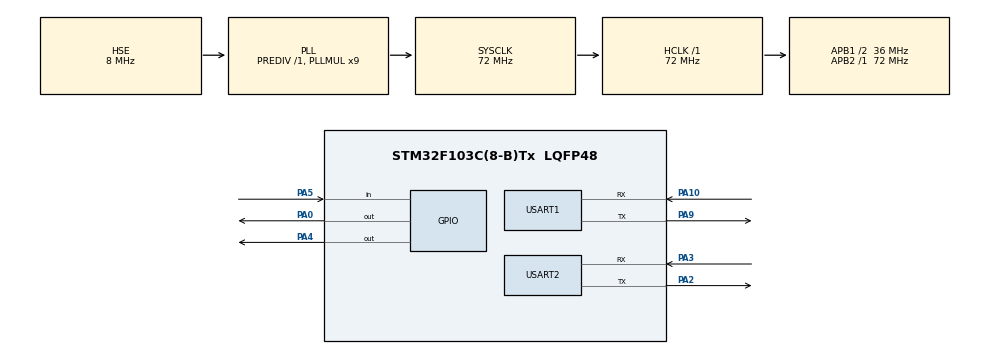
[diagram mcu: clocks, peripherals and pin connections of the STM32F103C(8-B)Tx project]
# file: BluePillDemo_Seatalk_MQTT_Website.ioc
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Dma.Request0=USART1_RX
Dma.Request1=USART1_TX
Dma.USART1_RX.0.Direction=DMA_PERIPH_TO_MEMORY
Dma.USART1_RX.0.Instance=DMA1_Channel5
Dma.USART1_RX.0.MemDataAlignment=DMA_MDATAALIGN_BYTE
Dma.USART1_RX.0.MemInc=DMA_MINC_ENABLE
Dma.USART1_RX.0.Mode=DMA_CIRCULAR
Dma.USART1_RX.0.PeriphDataAlignment=DMA_PDATAALIGN_BYTE
Dma.USART1_RX.0.PeriphInc=DMA_PINC_DISABLE
Dma.USART1_RX.0.Priority=DMA_PRIORITY_VERY_HIGH
Dma.USART1_TX.1.Direction=DMA_MEMORY_TO_PERIPH
Dma.USART1_TX.1.Instance=DMA1_Channel4
Dma.USART1_TX.1.MemDataAlignment=DMA_MDATAALIGN_BYTE
Dma.USART1_TX.1.MemInc=DMA_MINC_ENABLE
Dma.USART1_TX.1.Mode=DMA_NORMAL
Dma.USART1_TX.1.PeriphDataAlignment=DMA_PDATAALIGN_BYTE
Dma.USART1_TX.1.PeriphInc=DMA_PINC_DISABLE
Dma.USART1_TX.1.Priority=DMA_PRIORITY_VERY_HIGH
FREERTOS.Queues01=commandQueue,1,AtCommandPacket_t,0,Static,commandQueueBuffer,commandQueueControlBlock;responseQueue,1,AtResponsePacket_t,0,Static,responseQueueBuffer,responseQueueControlBlock
FREERTOS.RecursiveMutexes01=modemMutex,Static,modemMutexControlBlock
FREERTOS.Tasks01=main,24,250,mainTask,Default,NULL,Static,mainBuffer,mainControlBlock;modem,8,350,modemTask,Default,NULL,Static,modemBuffer,modemControlBlock
FREERTOS.configCHECK_FOR_STACK_OVERFLOW=2
IWDG.Prescaler=IWDG_PRESCALER_256
Mcu.Family=STM32F1
Mcu.Name=STM32F103C(8-B)Tx
Mcu.Package=LQFP48
NVIC.DMA1_Channel4_IRQn=true\:5\:0\:false\:false\:true\:true\:false\:true
NVIC.DMA1_Channel5_IRQn=true\:5\:0\:false\:false\:true\:true\:false\:true
NVIC.PriorityGroup=NVIC_PRIORITYGROUP_4
NVIC.TIM1_UP_IRQn=true\:0\:0\:false\:false\:true\:false\:false\:true
NVIC.TIM2_IRQn=true\:5\:0\:false\:false\:true\:true\:true\:true
NVIC.TimeBase=TIM1_UP_IRQn
NVIC.TimeBaseIP=TIM1
NVIC.USART1_IRQn=true\:5\:0\:false\:false\:true\:true\:true\:true
PA0-WKUP.Signal=GPIO_Output
PA10.Mode=Asynchronous
PA10.Signal=USART1_RX
PA13.Mode=Serial_Wire
PA13.Signal=SYS_JTMS-SWDIO
PA14.Mode=Serial_Wire
PA14.Signal=SYS_JTCK-SWCLK
PA2.Mode=Asynchronous
PA2.Signal=USART2_TX
PA3.Mode=Asynchronous
PA3.Signal=USART2_RX
PA4.Signal=GPIO_Output
PA5.Signal=GPIO_Input
PA9.Mode=Asynchronous
PA9.Signal=USART1_TX
PC14-OSC32_IN.Mode=LSE-External-Oscillator
PC14-OSC32_IN.Signal=RCC_OSC32_IN
PC15-OSC32_OUT.Mode=LSE-External-Oscillator
PC15-OSC32_OUT.Signal=RCC_OSC32_OUT
PD0-OSC_IN.Mode=HSE-External-Oscillator
PD0-OSC_IN.Signal=RCC_OSC_IN
PD1-OSC_OUT.Mode=HSE-External-Oscillator
PD1-OSC_OUT.Signal=RCC_OSC_OUT
ProjectManager.HeapSize=0x200
ProjectManager.StackSize=0x400
ProjectManager.TargetToolchain=STM32CubeIDE
RCC.ADCPresc=RCC_ADCPCLK2_DIV6
RCC.AHBFreq_Value=72000000
RCC.APB1CLKDivider=RCC_HCLK_DIV2
RCC.APB1Freq_Value=36000000
RCC.APB1TimFreq_Value=72000000
RCC.APB2Freq_Value=72000000
RCC.APB2TimFreq_Value=72000000
RCC.HCLKFreq_Value=72000000
RCC.PLLMUL=RCC_PLL_MUL9
RCC.PLLSourceVirtual=RCC_PLLSOURCE_HSE
RCC.SYSCLKFreq_VALUE=72000000
RCC.SYSCLKSource=RCC_SYSCLKSOURCE_PLLCLK
RCC.USBFreq_Value=72000000
TIM2.Period=936
TIM2.Prescaler=1
USART1.VirtualMode=VM_ASYNC
USART2.VirtualMode=VM_ASYNC
VP_FREERTOS_VS_CMSIS_V2.Mode=CMSIS_V2
VP_IWDG_VS_IWDG.Mode=IWDG_Activate
VP_SYS_VS_tim1.Mode=TIM1
VP_TIM2_VS_ClockSourceINT.Mode=Internal
board=custom

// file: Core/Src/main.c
/* USER CODE BEGIN Header */
/**
  ******************************************************************************
  * @file           : main.c
  * @brief          : Main program body
  ******************************************************************************
  * @attention
  *
  * <h2><center>&copy; Copyright (c) 2020 STMicroelectronics.
  * All rights reserved.</center></h2>
  *
  * This software component is licensed by ST under BSD 3-Clause license,
  * the "License"; You may not use this file except in compliance with the
  * License. You may obtain a copy of the License at:
  *                        opensource.org/licenses/BSD-3-Clause
  *
  ******************************************************************************
  */
/* USER CODE END Header */

#include "main.h"
#include "cmsis_os.h"

/* USER CODE BEGIN Includes */
#include <stdlib.h>
#include <stdint.h>
#include <stdbool.h>
#include <string.h>
#include "task.h"
#include "modem.h"
#include "buffered_serial.h"
#include "mqtt.h"
#include "seatalk.h"
#include "printf.h"

/* USER CODE END Includes */

/* USER CODE BEGIN PD */

/**** SET YOUR OWN VALUES HERE ****/
#define ACCESS_POINT_NAME					"everywhere"			// SET YOUR OWN VALUE network settings
#define USER_NAME							"eesecure"				// SET YOUR OWN VALUE may be blank for some networks in which case change to NULL (not "NULL")
#define PASSWORD							"secure"				// SET YOUR OWN VALUE may be blank for some networks in which case change to NULL (not "NULL")
#define MQTT_PUBLISH_TOPIC_ROOT				"BluePillDemo"			// SET YOUR OWN VALUE topic root for all published values
//#error "Remove this line when you have set your own values above"

#define PUBLISH_PERIOD_MS					5000UL					// time in ms that changed values are published
#define MINIMUM_REPUBLISH_TIME_MS			30000UL					// time in ms that values are republished even if unchanged
#define NETWORK_REGISTRATION_WAIT_TIME_MS	30000UL					// time to wait for network registration before giving up

/* USER CODE END PD */

/* USER CODE BEGIN PM */
#define MY_SNPRINTF snprintf	// newlib snprintf with float support is too heavy and not threadsafe so using local snprintf from printf.c
								// but this causes a compile warning that float support is off so use this macro to prevent it

/* USER CODE END PM */

IWDG_HandleTypeDef hiwdg;

TIM_HandleTypeDef htim2;

UART_HandleTypeDef huart1;
UART_HandleTypeDef huart2;
DMA_HandleTypeDef hdma_usart1_rx;
DMA_HandleTypeDef hdma_usart1_tx;

typedef StaticTask_t osStaticThreadDef_t;
typedef StaticQueue_t osStaticMessageQDef_t;
typedef StaticSemaphore_t osStaticMutexDef_t;
osThreadId_t mainHandle;
uint32_t mainBuffer[ 250 ];
osStaticThreadDef_t mainControlBlock;
osThreadId_t modemHandle;
uint32_t modemBuffer[ 350 ];
osStaticThreadDef_t modemControlBlock;
osMessageQueueId_t commandQueueHandle;
uint8_t commandQueueBuffer[ 1 * sizeof( AtCommandPacket_t ) ];
osStaticMessageQDef_t commandQueueControlBlock;
osMessageQueueId_t responseQueueHandle;
uint8_t responseQueueBuffer[ 1 * sizeof( AtResponsePacket_t ) ];
osStaticMessageQDef_t responseQueueControlBlock;
osMutexId_t modemMutexHandle;
osStaticMutexDef_t modemMutexControlBlock;
/* USER CODE BEGIN PV */
osEventFlagsId_t modemTaskStartedEventHandle;
static bool subscribeResponseReceived;
static uint16_t subscribeResponsePacketIdentifier;
static bool sogReceived;
static bool depthReceived;
static bool boatspeedReceived;
static bool awaReceived;
static bool awsReceived;
static bool sogReceived;
static bool cogReceived;
static bool heading1Received;
static bool heading2Received;
static bool tripReceived;
static bool logReceived;
static bool twasReceived;
static bool latReceived;
static bool longReceived;
static bool tempReceived;
static float newSog;
static float oldSog;
static uint32_t sogLastPubTime = UINT32_MAX / 2;
static float newDepth;
static float oldDepth;
static uint32_t depthLastPubTime = UINT32_MAX / 2;
static float newBoatspeed;
static float oldBoatspeed;
static uint32_t boatspeedLastPubTime = UINT32_MAX / 2;
static float newAwa;
static float oldAwa;
static uint32_t awaLastPubTime = UINT32_MAX / 2;
static float newAws;
static float oldAws;
static uint32_t awsLastPubTime = UINT32_MAX / 2;
static int16_t newCog;
static int16_t oldCog;
static uint32_t cogLastPubTime = UINT32_MAX / 2;
static float oldTrip;
static float newTrip;
static uint32_t tripLastPubTime = UINT32_MAX / 2;
static float newLog;
static float oldLog;
static uint32_t logLastPubTime = UINT32_MAX / 2;
static float newTemp;
static float oldTemp;
static uint32_t tempLastPubTime = UINT32_MAX / 2;
static float newTws;
static float oldTws;
static uint32_t twsLastPubTime = UINT32_MAX / 2;
static float newTwa;
static float oldTwa;
static uint32_t twaLastPubTime = UINT32_MAX / 2;
static float newLatitude;
static float oldLatitude;
static uint32_t latitudeLastPubTime = UINT32_MAX / 2;
static float newLongitude;
static float oldLongitude;
static uint32_t longitudeLastPubTime = UINT32_MAX / 2;
static float newHeading;
static float oldHeading;
static uint32_t headingLastPubTime = UINT32_MAX / 2;

/* USER CODE END PV */

void SystemClock_Config(void);
static void MX_GPIO_Init(void);
static void MX_DMA_Init(void);
static void MX_TIM2_Init(void);
static void MX_USART1_UART_Init(void);
static void MX_USART2_UART_Init(void);
static void MX_IWDG_Init(void);
void mainTask(void *argument);
void modemTask(void *argument);

/* USER CODE BEGIN PFP */
void ModemDebugPrintStatus(const char *text, ModemStatus_t modemStatus);
void MqttDebugPrintStatus(const char *text, MqttStatus_t mqttStatus);
void PublishCallback(const char *topic, uint8_t topicLength, const uint8_t *payload, uint32_t payloadLength);
void PingResponseCallback(void);
void SubscribeResponseCallback(uint16_t packetIdentifier, bool success);
void UnsubscribeResponseCallback(uint16_t packetIdentifier);
void SeatalkMessageHandler(uint8_t messageType);
static void DebugPrint(const char *text);

/* USER CODE END PFP */

/* USER CODE BEGIN 0 */

void SeatalkMessageHandler(uint8_t messageType)
{
	switch(messageType)
	{
	case SEATALK_DEPTH:
		depthReceived = true;
		break;

	case SEATALK_BOATSPEED:
		boatspeedReceived = true;
		break;

	case SEATALK_APPARENT_WIND_ANGLE:
		awaReceived = true;
		break;

	case SEATALK_APPARENT_WIND_SPEED:
		awsReceived = true;
		break;

	case SEATALK_SOG:
		sogReceived = true;
		break;

	case SEATALK_COG:
		cogReceived = true;
		break;

	case SEATALK_HEADING_MAGNETIC_1:
		heading1Received = true;
		break;

	case SEATALK_HEADING_MAGNETIC_2:
		heading2Received = true;
		break;

	case SEATALK_TRIPLOG:
		tripReceived = true;
		logReceived = true;
		break;

	case SEATALK_TRUE_WIND_ANGLE_SPEED:
		twasReceived = true;
		break;

	case SEATALK_LATITUDE:
		latReceived = true;
		break;

	case SEATALK_LONGITUDE:
		longReceived = true;
		break;

	case SEATALK_TEMPERATURE:
		tempReceived = true;
		break;

	default:
		break;
	}
}

void SubscribeResponseCallback(uint16_t packetIdentifier, bool success)
{
  subscribeResponseReceived = success;
  subscribeResponsePacketIdentifier = packetIdentifier;
}

void MqttDebugPrintStatus(const char *text, MqttStatus_t mqttStatus)
{
  DebugPrint(text);
  DebugPrint(": ");
  DebugPrint(MqttStatusToText(mqttStatus));
  DebugPrint("\r\n");
}

static void DebugPrint(const char *text)
{
  HAL_UART_Transmit(&huart2, (uint8_t *)text, strlen(text), 100U);
}

void ModemDebugPrintStatus(const char *text, ModemStatus_t modemStatus)
{
  DebugPrint(text);
  DebugPrint(": ");
  DebugPrint(ModemStatusToText(modemStatus));
  DebugPrint("\r\n");
}

/* USER CODE END 0 */

int main(void)
{

  /* MCU Configuration--------------------------------------------------------*/

  /* Reset of all peripherals, Initializes the Flash interface and the Systick. */
  HAL_Init();

  /* Configure the system clock */
  SystemClock_Config();

  /* Initialize all configured peripherals */
  MX_GPIO_Init();
  MX_DMA_Init();
  MX_TIM2_Init();
  MX_USART1_UART_Init();
  MX_USART2_UART_Init();
  MX_IWDG_Init();
  /* USER CODE BEGIN 2 */
  seatalk_init(SeatalkMessageHandler);

  /* USER CODE END 2 */

  osKernelInitialize();

  /* Create the recursive mutex(es) */
  /* definition and creation of modemMutex */
  const osMutexAttr_t modemMutex_attributes = {
    .name = "modemMutex",
    .attr_bits = osMutexRecursive,
    .cb_mem = &modemMutexControlBlock,
    .cb_size = sizeof(modemMutexControlBlock),
  };
  modemMutexHandle = osMutexNew(&modemMutex_attributes);

  /* USER CODE BEGIN RTOS_SEMAPHORES */
  /* add semaphores, ... */
  modemTaskStartedEventHandle = osEventFlagsNew(NULL);

  /* USER CODE END RTOS_SEMAPHORES */

  /* Create the queue(s) */
  /* definition and creation of commandQueue */
  const osMessageQueueAttr_t commandQueue_attributes = {
    .name = "commandQueue",
    .cb_mem = &commandQueueControlBlock,
    .cb_size = sizeof(commandQueueControlBlock),
    .mq_mem = &commandQueueBuffer,
    .mq_size = sizeof(commandQueueBuffer)
  };
  commandQueueHandle = osMessageQueueNew (1, sizeof(AtCommandPacket_t), &commandQueue_attributes);

  /* definition and creation of responseQueue */
  const osMessageQueueAttr_t responseQueue_attributes = {
    .name = "responseQueue",
    .cb_mem = &responseQueueControlBlock,
    .cb_size = sizeof(responseQueueControlBlock),
    .mq_mem = &responseQueueBuffer,
    .mq_size = sizeof(responseQueueBuffer)
  };
  responseQueueHandle = osMessageQueueNew (1, sizeof(AtResponsePacket_t), &responseQueue_attributes);

  /* Create the thread(s) */
  /* definition and creation of main */
  const osThreadAttr_t main_attributes = {
    .name = "main",
    .stack_mem = &mainBuffer[0],
    .stack_size = sizeof(mainBuffer),
    .cb_mem = &mainControlBlock,
    .cb_size = sizeof(mainControlBlock),
    .priority = (osPriority_t) osPriorityNormal,
  };
  mainHandle = osThreadNew(mainTask, NULL, &main_attributes);

  /* definition and creation of modem */
  const osThreadAttr_t modem_attributes = {
    .name = "modem",
    .stack_mem = &modemBuffer[0],
    .stack_size = sizeof(modemBuffer),
    .cb_mem = &modemControlBlock,
    .cb_size = sizeof(modemControlBlock),
    .priority = (osPriority_t) osPriorityLow,
  };
  modemHandle = osThreadNew(modemTask, NULL, &modem_attributes);

  /* Start scheduler */
  osKernelStart();

  /* We should never get here as control is now taken by the scheduler */

  /* Infinite loop */
  while (1)
  {

  }
}

void SystemClock_Config(void)
{
  RCC_OscInitTypeDef RCC_OscInitStruct = {0};
  RCC_ClkInitTypeDef RCC_ClkInitStruct = {0};

  /** Initializes the CPU, AHB and APB busses clocks
  */
  RCC_OscInitStruct.OscillatorType = RCC_OSCILLATORTYPE_LSI|RCC_OSCILLATORTYPE_HSE;
  RCC_OscInitStruct.HSEState = RCC_HSE_ON;
  RCC_OscInitStruct.HSEPredivValue = RCC_HSE_PREDIV_DIV1;
  RCC_OscInitStruct.HSIState = RCC_HSI_ON;
  RCC_OscInitStruct.LSIState = RCC_LSI_ON;
  RCC_OscInitStruct.PLL.PLLState = RCC_PLL_ON;
  RCC_OscInitStruct.PLL.PLLSource = RCC_PLLSOURCE_HSE;
  RCC_OscInitStruct.PLL.PLLMUL = RCC_PLL_MUL9;
  if (HAL_RCC_OscConfig(&RCC_OscInitStruct) != HAL_OK)
  {
    Error_Handler();
  }
  /** Initializes the CPU, AHB and APB busses clocks
  */
  RCC_ClkInitStruct.ClockType = RCC_CLOCKTYPE_HCLK|RCC_CLOCKTYPE_SYSCLK
                              |RCC_CLOCKTYPE_PCLK1|RCC_CLOCKTYPE_PCLK2;
  RCC_ClkInitStruct.SYSCLKSource = RCC_SYSCLKSOURCE_PLLCLK;
  RCC_ClkInitStruct.AHBCLKDivider = RCC_SYSCLK_DIV1;
  RCC_ClkInitStruct.APB1CLKDivider = RCC_HCLK_DIV2;
  RCC_ClkInitStruct.APB2CLKDivider = RCC_HCLK_DIV1;

  if (HAL_RCC_ClockConfig(&RCC_ClkInitStruct, FLASH_LATENCY_2) != HAL_OK)
  {
    Error_Handler();
  }
}

static void MX_IWDG_Init(void)
{

  hiwdg.Instance = IWDG;
  hiwdg.Init.Prescaler = IWDG_PRESCALER_256;
  hiwdg.Init.Reload = 4095;
  if (HAL_IWDG_Init(&hiwdg) != HAL_OK)
  {
    Error_Handler();
  }

}

static void MX_TIM2_Init(void)
{

  TIM_ClockConfigTypeDef sClockSourceConfig = {0};
  TIM_MasterConfigTypeDef sMasterConfig = {0};

  htim2.Instance = TIM2;
  htim2.Init.Prescaler = 1;
  htim2.Init.CounterMode = TIM_COUNTERMODE_UP;
  htim2.Init.Period = 936;
  htim2.Init.ClockDivision = TIM_CLOCKDIVISION_DIV1;
  htim2.Init.AutoReloadPreload = TIM_AUTORELOAD_PRELOAD_DISABLE;
  if (HAL_TIM_Base_Init(&htim2) != HAL_OK)
  {
    Error_Handler();
  }
  sClockSourceConfig.ClockSource = TIM_CLOCKSOURCE_INTERNAL;
  if (HAL_TIM_ConfigClockSource(&htim2, &sClockSourceConfig) != HAL_OK)
  {
    Error_Handler();
  }
  sMasterConfig.MasterOutputTrigger = TIM_TRGO_RESET;
  sMasterConfig.MasterSlaveMode = TIM_MASTERSLAVEMODE_DISABLE;
  if (HAL_TIMEx_MasterConfigSynchronization(&htim2, &sMasterConfig) != HAL_OK)
  {
    Error_Handler();
  }

}

static void MX_USART1_UART_Init(void)
{

  huart1.Instance = USART1;
  huart1.Init.BaudRate = 115200;
  huart1.Init.WordLength = UART_WORDLENGTH_8B;
  huart1.Init.StopBits = UART_STOPBITS_1;
  huart1.Init.Parity = UART_PARITY_NONE;
  huart1.Init.Mode = UART_MODE_TX_RX;
  huart1.Init.HwFlowCtl = UART_HWCONTROL_NONE;
  huart1.Init.OverSampling = UART_OVERSAMPLING_16;
  if (HAL_UART_Init(&huart1) != HAL_OK)
  {
    Error_Handler();
  }

}

static void MX_USART2_UART_Init(void)
{

  huart2.Instance = USART2;
  huart2.Init.BaudRate = 115200;
  huart2.Init.WordLength = UART_WORDLENGTH_8B;
  huart2.Init.StopBits = UART_STOPBITS_1;
  huart2.Init.Parity = UART_PARITY_NONE;
  huart2.Init.Mode = UART_MODE_TX_RX;
  huart2.Init.HwFlowCtl = UART_HWCONTROL_NONE;
  huart2.Init.OverSampling = UART_OVERSAMPLING_16;
  if (HAL_UART_Init(&huart2) != HAL_OK)
  {
    Error_Handler();
  }

}

static void MX_DMA_Init(void)
{

  /* DMA controller clock enable */
  __HAL_RCC_DMA1_CLK_ENABLE();

  /* DMA interrupt init */
  /* DMA1_Channel4_IRQn interrupt configuration */
  HAL_NVIC_SetPriority(DMA1_Channel4_IRQn, 5, 0);
  HAL_NVIC_EnableIRQ(DMA1_Channel4_IRQn);
  /* DMA1_Channel5_IRQn interrupt configuration */
  HAL_NVIC_SetPriority(DMA1_Channel5_IRQn, 5, 0);
  HAL_NVIC_EnableIRQ(DMA1_Channel5_IRQn);

}

static void MX_GPIO_Init(void)
{
  GPIO_InitTypeDef GPIO_InitStruct = {0};

  /* GPIO Ports Clock Enable */
  __HAL_RCC_GPIOC_CLK_ENABLE();
  __HAL_RCC_GPIOD_CLK_ENABLE();
  __HAL_RCC_GPIOA_CLK_ENABLE();

  /*Configure GPIO pin Output Level */
  HAL_GPIO_WritePin(GPIOA, GPIO_PIN_0|GPIO_PIN_4, GPIO_PIN_RESET);

  /*Configure GPIO pins : PA0 PA4 */
  GPIO_InitStruct.Pin = GPIO_PIN_0|GPIO_PIN_4;
  GPIO_InitStruct.Mode = GPIO_MODE_OUTPUT_PP;
  GPIO_InitStruct.Pull = GPIO_NOPULL;
  GPIO_InitStruct.Speed = GPIO_SPEED_FREQ_LOW;
  HAL_GPIO_Init(GPIOA, &GPIO_InitStruct);

  /*Configure GPIO pin : PA5 */
  GPIO_InitStruct.Pin = GPIO_PIN_5;
  GPIO_InitStruct.Mode = GPIO_MODE_INPUT;
  GPIO_InitStruct.Pull = GPIO_NOPULL;
  HAL_GPIO_Init(GPIOA, &GPIO_InitStruct);

}

void mainTask(void *argument)
{
  /* USER CODE BEGIN 5 */
  ModemStatus_t modemStatus;
  MqttStatus_t mqttStatus;
  bool registrationStatus;
  char ipAddress[MODEM_MAX_IP_ADDRESS_LENGTH];
  uint32_t startTime;

  // kick watchdog
  HAL_IWDG_Refresh(&hiwdg);

  // wait for modem task to start
  osEventFlagsWait(modemTaskStartedEventHandle, 0x00000001UL, osFlagsWaitAny, osWaitForever);

  serial_init();

  // kick watchdog
  HAL_IWDG_Refresh(&hiwdg);

  modemStatus = ModemHello(250UL);
  ModemDebugPrintStatus("Hello", modemStatus);

  DebugPrint("Attempting to register on network\r\n");
  startTime = osKernelGetTickCount();
  do
  {
    // kick watchdog
    HAL_IWDG_Refresh(&hiwdg);

	ModemGetNetworkRegistrationStatus(&registrationStatus, 250UL);
	osDelay(1000UL);

	if (osKernelGetTickCount() > startTime + NETWORK_REGISTRATION_WAIT_TIME_MS)
	{
		DebugPrint("Could not register on network, rebooting\r\n");
		while (true)
		{
		  osDelay(1000UL);
		}
	}
  } while (!registrationStatus);
  ModemDebugPrintStatus("Register on network", modemStatus);

  modemStatus = ModemSetManualDataRead(250UL);
  ModemDebugPrintStatus("Set manual read", modemStatus);

  if (modemStatus >= MODEM_OK)
  {
    modemStatus = ModemConfigureDataConnection(ACCESS_POINT_NAME, USER_NAME, PASSWORD, 250UL);
    ModemDebugPrintStatus("Configure data connection", modemStatus);
  }

  if (modemStatus >= MODEM_OK)
  {
	modemStatus = ModemActivateDataConnection(10000UL);
    ModemDebugPrintStatus("Activate data connection", modemStatus);
  }

  if (modemStatus >= MODEM_OK)
  {
    modemStatus = ModemGetOwnIpAddress(ipAddress, MODEM_MAX_IP_ADDRESS_LENGTH, 250UL);
    ModemDebugPrintStatus("Get own IP address", modemStatus);
  }

  if (modemStatus < MODEM_OK)
  {
	  DebugPrint("Modem error in modem configuration, rebooting\r\n");
	  while (true)
	  {
	    osDelay(1000UL);
	  }
  }

  MqttSetSubscribeResponseCallback(SubscribeResponseCallback);

  // kick watchdog
  HAL_IWDG_Refresh(&hiwdg);

  // open TCP connection to broker
  modemStatus = ModemOpenTcpConnection("broker.hivemq.com", 1883U, 8000UL);
  ModemDebugPrintStatus("Open TCP connection", modemStatus);

  // kick watchdog
  HAL_IWDG_Refresh(&hiwdg);

  if (modemStatus < MODEM_OK)
  {
	  DebugPrint("Coule no open connection to broker, rebooting\r\n");
	  while (true)
	  {
	    osDelay(1000UL);
	  }
  }

  // connect to broker
  mqttStatus = MqttConnect("1234", NULL, NULL, 600U, 20000UL);
  MqttDebugPrintStatus("MQTT connect", mqttStatus);
  if (mqttStatus != MQTT_OK)
  {
	DebugPrint("Could not connect to broker, rebooting\r\n");
	while (true)
	{
	  osDelay(1000UL);
	}
  }

  // go into main loop
  while (true)
  {
	// kick watchdog
	HAL_IWDG_Refresh(&hiwdg);

	// go into wait loop checking for incoming seatalk messages and incoming MQTT responses
	startTime = osKernelGetTickCount();
	uint8_t i = 0U;
	while (true)
	{
	  	seatalk_parse_next_message();
	  	seatalk_send_next_message();
	    osDelay(10UL);

	    i++;
	    if (i == 25U)
	    {
	    	i = 0U;
	    	mqttStatus = MqttHandleResponse(5000UL);
	    }

		if (osKernelGetTickCount() > startTime + PUBLISH_PERIOD_MS)
		{
			break;
		}
	}

    char buf[20];

    if (sogReceived && mqttStatus >= MQTT_OK)
    {
      sogReceived = false;
      newSog = seatalk_speed_over_ground_data_retrieve();
      if (oldSog != newSog || (osKernelGetTickCount() - sogLastPubTime > MINIMUM_REPUBLISH_TIME_MS))
      {
		  MY_SNPRINTF(buf, sizeof(buf), "%.1f", newSog);
		  mqttStatus = MqttPublish(MQTT_PUBLISH_TOPIC_ROOT "/sog", (uint8_t *)buf, strlen(buf), false, 5000UL);
		  oldSog = newSog;
		  sogLastPubTime = osKernelGetTickCount();
      }
    }

    if (depthReceived && mqttStatus >= MQTT_OK)
    {
	  depthReceived = false;
	  newDepth = seatalk_depth_data_retrieve();
	  if (oldDepth != newDepth || (osKernelGetTickCount() - depthLastPubTime > MINIMUM_REPUBLISH_TIME_MS))
	  {
		  MY_SNPRINTF(buf, sizeof(buf), "%.1f", newDepth);
		  mqttStatus = MqttPublish(MQTT_PUBLISH_TOPIC_ROOT "/depth", (uint8_t *)buf, strlen(buf), false, 5000UL);
		  oldDepth = newDepth;
		  depthLastPubTime = osKernelGetTickCount();
	  }
    }

    if (boatspeedReceived && mqttStatus >= MQTT_OK)
    {
	  boatspeedReceived = false;
	  newBoatspeed = seatalk_boat_speed_data_retrieve();
	  if (newBoatspeed != oldBoatspeed || (osKernelGetTickCount() - boatspeedLastPubTime > MINIMUM_REPUBLISH_TIME_MS))
	  {
		  MY_SNPRINTF(buf, sizeof(buf), "%.1f", newBoatspeed);
		  mqttStatus = MqttPublish(MQTT_PUBLISH_TOPIC_ROOT "/boatspeed", (uint8_t *)buf, strlen(buf), false, 5000UL);
		  oldBoatspeed = newBoatspeed;
		  boatspeedLastPubTime = osKernelGetTickCount();
	  }
    }

    if (awaReceived && mqttStatus >= MQTT_OK)
    {
	  awaReceived = false;
	  newAwa = seatalk_apparent_wind_angle_retrieve();
	  if (newAwa != oldAwa && (osKernelGetTickCount() - awaLastPubTime > MINIMUM_REPUBLISH_TIME_MS))
	  {
		  MY_SNPRINTF(buf, sizeof(buf), "%.0f", newAwa);
		  mqttStatus = MqttPublish(MQTT_PUBLISH_TOPIC_ROOT "/awa", (uint8_t *)buf, strlen(buf), false, 5000UL);
		  oldAwa = newAwa;
		  awaLastPubTime = osKernelGetTickCount();
	  }
    }

    if (awsReceived && mqttStatus >= MQTT_OK)
    {
	  awsReceived = false;
	  newAws = seatalk_apparent_wind_speed_retrieve();
	  if (newAws != oldAws || (osKernelGetTickCount() - awsLastPubTime > MINIMUM_REPUBLISH_TIME_MS))
	  {
		  MY_SNPRINTF(buf, sizeof(buf), "%.1f", newAws);
		  mqttStatus = MqttPublish(MQTT_PUBLISH_TOPIC_ROOT "/aws", (uint8_t *)buf, strlen(buf), false, 5000UL);
		  oldAws = newAws;
		  awsLastPubTime = osKernelGetTickCount();
	  }
    }

    if (cogReceived && mqttStatus >= MQTT_OK)
    {
	  cogReceived = false;
	  newCog = seatalk_course_over_ground_data_retrieve();
	  if (newCog != oldCog || (osKernelGetTickCount() - cogLastPubTime > MINIMUM_REPUBLISH_TIME_MS))
	  {
		  MY_SNPRINTF(buf, sizeof(buf), "%hu", newCog);
		  mqttStatus = MqttPublish(MQTT_PUBLISH_TOPIC_ROOT "/cog", (uint8_t *)buf, strlen(buf), false, 5000UL);
		  oldCog = newCog;
		  cogLastPubTime = osKernelGetTickCount();
	  }
    }

    if ((heading1Received || heading2Received)  && mqttStatus >= MQTT_OK)
    {
	  heading1Received = false;
	  heading2Received = false;
	  newHeading = seatalk_heading_magnetic_retrieve();
	  if (newHeading != oldHeading || (osKernelGetTickCount() - headingLastPubTime > MINIMUM_REPUBLISH_TIME_MS))
	  {
		  snprintf(buf, sizeof(buf), "%hu", newHeading);
		  mqttStatus = MqttPublish(MQTT_PUBLISH_TOPIC_ROOT "/heading", (uint8_t *)buf, strlen(buf), false, 5000UL);
		  oldHeading = newHeading;
		  headingLastPubTime = osKernelGetTickCount();
	  }
    }

    if (tripReceived && mqttStatus >= MQTT_OK)
    {
	  tripReceived = false;
	  newTrip = seatalk_trip_data_retrieve();
	  if (newTrip != oldTrip || (osKernelGetTickCount() - tripLastPubTime > MINIMUM_REPUBLISH_TIME_MS))
	  {
		  MY_SNPRINTF(buf, sizeof(buf), "%.1f", newTrip);
		  mqttStatus = MqttPublish(MQTT_PUBLISH_TOPIC_ROOT "/trip", (uint8_t *)buf, strlen(buf), false, 5000UL);
		  oldTrip = newTrip;
		  tripLastPubTime = osKernelGetTickCount();
	  }
    }

    if (logReceived && mqttStatus >= MQTT_OK)
    {
      logReceived = false;
      newLog = seatalk_log_data_retrieve();
      if (newLog != oldLog || (osKernelGetTickCount() - logLastPubTime > MINIMUM_REPUBLISH_TIME_MS))
      {
		  MY_SNPRINTF(buf, sizeof(buf), "%.1f", newLog);
		  mqttStatus = MqttPublish(MQTT_PUBLISH_TOPIC_ROOT "/log", (uint8_t *)buf, strlen(buf), false, 5000UL);
		  oldLog = newLog;
		  logLastPubTime = osKernelGetTickCount();
      }
    }

    if (twasReceived && mqttStatus >= MQTT_OK)
    {
	  twasReceived = false;

	  newTwa = seatalk_true_wind_angle_retrieve();
	  if (newTwa != oldTwa || (osKernelGetTickCount() - twaLastPubTime > MINIMUM_REPUBLISH_TIME_MS))
	  {
		  MY_SNPRINTF(buf, sizeof(buf), "%.0f", newTwa);
		  mqttStatus = MqttPublish(MQTT_PUBLISH_TOPIC_ROOT "/twa", (uint8_t *)buf, strlen(buf), false, 5000UL);
		  oldTwa = newTwa;
		  twaLastPubTime = osKernelGetTickCount();
	  }

	  newTws = seatalk_true_wind_speed_retrieve();
	  if (newTws != oldTws || (osKernelGetTickCount() - twsLastPubTime > MINIMUM_REPUBLISH_TIME_MS))
	  {
		  MY_SNPRINTF(buf, sizeof(buf), "%.1f", newTws);
		  mqttStatus = MqttPublish(MQTT_PUBLISH_TOPIC_ROOT "/twa", (uint8_t *)buf, strlen(buf), false, 5000UL);
		  oldTws = newTws;
		  twsLastPubTime = osKernelGetTickCount();
	  }
    }

    if (latReceived && mqttStatus >= MQTT_OK)
    {
  	  latReceived = false;

      newLatitude = (float)seatalk_latitude_degrees_retrieve();
      if (newLatitude > 0.0f)
      {
    	  newLatitude += seatalk_latitude_minutes_retrieve() / 60.0f;
      }
      else
      {
    	  newLatitude -= seatalk_latitude_minutes_retrieve() / 60.0f;
      }
      if (newLatitude != oldLatitude || (osKernelGetTickCount() - latitudeLastPubTime > MINIMUM_REPUBLISH_TIME_MS))
      {
		  MY_SNPRINTF(buf, sizeof(buf), "%f", newLatitude);
		  mqttStatus = MqttPublish(MQTT_PUBLISH_TOPIC_ROOT "/lat", (uint8_t *)buf, strlen(buf), false, 5000UL);
		  oldLatitude = newLatitude;
		  latitudeLastPubTime = osKernelGetTickCount();
      }
    }

    if (longReceived && mqttStatus >= MQTT_OK)
    {
  	  longReceived = false;

	  newLongitude = (float)seatalk_longitude_degrees_retrieve();
	  if (newLongitude > 0.0f)
	  {
		  newLongitude += seatalk_longitude_minutes_retrieve() / 60.0f;
	   }
	  else
	  {
		  newLongitude -= seatalk_longitude_minutes_retrieve() / 60.0f;
	  }
	  if (newLongitude != oldLongitude || (osKernelGetTickCount() - longitudeLastPubTime > MINIMUM_REPUBLISH_TIME_MS))
	  {
		  MY_SNPRINTF(buf, sizeof(buf), "%f", newLongitude);
		  mqttStatus = MqttPublish(MQTT_PUBLISH_TOPIC_ROOT "/long", (uint8_t *)buf, strlen(buf), false, 5000UL);
		  oldLongitude = newLongitude;
		  longitudeLastPubTime = osKernelGetTickCount();
	  }
    }

    if (tempReceived && mqttStatus >= MQTT_OK)
    {
	  tempReceived = false;
	  newTemp = seatalk_temperature_data_retrieve();
	  if (newTemp != oldTemp || (osKernelGetTickCount() - tempLastPubTime > MINIMUM_REPUBLISH_TIME_MS))
	  {
		  MY_SNPRINTF(buf, sizeof(buf), "%.1f", newTemp);
		  mqttStatus = MqttPublish(MQTT_PUBLISH_TOPIC_ROOT "/temp", (uint8_t *)buf, strlen(buf), false, 5000UL);
		  oldTemp = newTemp;
		  tempLastPubTime = osKernelGetTickCount();
	  }
    }

    if (mqttStatus < MQTT_OK)
    {
      MqttDebugPrintStatus("MQTT error, rebooting", mqttStatus);
	  while (true)
	  {
	    osDelay(1000UL);
	  }
    }
  }

  /* USER CODE END 5 */
}

void modemTask(void *argument)
{
  /* USER CODE BEGIN modemTask */
  ModemReset();
  ModemInit();

  // signal main task that this thread has started
  osEventFlagsSet(modemTaskStartedEventHandle, 0x00000001U);

  /* Infinite loop */
  DoModemTask();

  for(;;)
  {
    osDelay(1);
  }
  /* USER CODE END modemTask */
}

void HAL_TIM_PeriodElapsedCallback(TIM_HandleTypeDef *htim)
{
  if (htim->Instance == TIM1) {
    HAL_IncTick();
  }
}

void Error_Handler(void)
{
}

/************************ (C) COPYRIGHT STMicroelectronics *****END OF FILE****/
